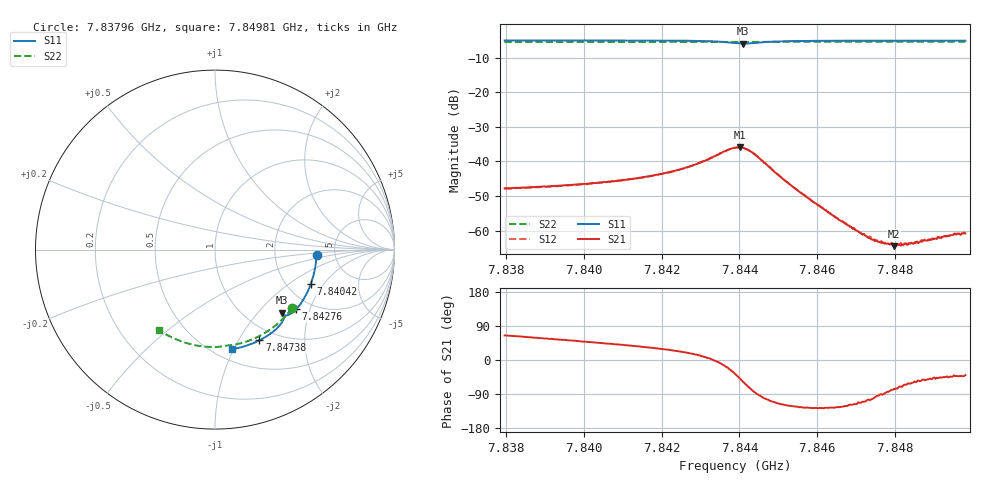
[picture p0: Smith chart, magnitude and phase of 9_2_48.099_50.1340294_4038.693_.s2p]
#  HZ  S  RI  R  50.00
! Rohde & Schwarz Vector Network Analyzer
! Rohde-Schwarz,ZNB20-2Port,1311601062101988,3.16
! Created: UTC 12/23/2023, 3:35:28 AM
! freq[Hz]  re:S11  im:S11  re:S21  im:S21  re:S12  im:S12  re:S22  im:S22
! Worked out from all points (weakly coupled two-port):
!   401 points, 7.83796 GHz to 7.84981 GHz, reference 50 ohm
!   highest |S21| = -35.85 dB at 7.844 GHz (marker M1); lowest = -64.5 dB at 7.84797 GHz (marker M2)
!   lowest |S11| = -5.8 dB at 7.84409 GHz (marker M3), VSWR 3.09, Z = 71.1 - j67.7 ohm
!   |S11| at or under -10 dB: nowhere
!   |S22| runs from -5.4 to -5.3 dB; largest |S21 - S12| = 0.00033
!   S11 on the Smith chart (normalised r, x): 7.83796 GHz: 3.59, -0.31; 7.84042 GHz: 2.68, -1.50; 7.84276 GHz: 1.66, -1.62; 7.84738 GHz: 0.83, -1.23; 7.84981 GHz: 0.60, -0.98
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7.837957e9  0.566 -0.0292  0.00173 0.00369  0.00172 0.00365  0.4301 -0.3267
7.839943e9  0.5442 -0.1597  0.00309 0.00354  0.00301 0.00357  0.3331 -0.4259
7.840417e9  0.5342 -0.1903  0.00351 0.00351  0.00344 0.00352  0.3063 -0.4459
7.841306e9  0.5102 -0.2462  0.00453 0.00338  0.00452 0.00335  0.2532 -0.4785
7.841929e9  0.4888 -0.2841  0.00564 0.00325  0.00561 0.00322  0.2138 -0.4974
7.842758e9  0.4515 -0.3329  0.00827 0.00254  0.00823 0.00251  0.159 -0.5177
7.84347e9  0.4035 -0.3654  0.0127 -0.00143  0.0127 -0.00143  0.1102 -0.5293
7.843885e9  0.3728 -0.3612  0.0128 -0.00947  0.0127 -0.00943  0.0824 -0.5327
7.844003e9  0.3698 -0.3555  0.0107 -0.012  0.0109 -0.0119  0.075 -0.5336
7.844092e9  0.3709 -0.352  0.00847 -0.0133  0.00851 -0.0132  0.0695 -0.5344
7.844388e9  0.3818 -0.356  0.0012 -0.0129  0.00122 -0.0126  0.0506 -0.5377
7.8451e9  0.3726 -0.4058  -0.00262 -0.00505  -0.00256 -0.0051  0.00102 -0.5427
7.84587e9  0.3347 -0.448  -0.0016 -0.00214  -0.00162 -0.00214  -0.0536 -0.5411
7.846878e9  0.2773 -0.4891  -0.000528 -0.000998  -0.000528 -0.000973  -0.1236 -0.5302
7.847382e9  0.2472 -0.5055  -0.000183 -0.00073  -0.000213 -0.000768  -0.1579 -0.5214
7.84756e9  0.2365 -0.5107  -5.59e-05 -0.000687  -4.32e-05 -0.000694  -0.1697 -0.5179
7.847856e9  0.2183 -0.5191  8.67e-05 -0.000623  6.28e-05 -0.000636  -0.1896 -0.5109
7.847975e9  0.2108 -0.522  0.000138 -0.000577  0.000125 -0.000616  -0.1973 -0.5081
7.848063e9  0.2053 -0.5242  0.000154 -0.0006  0.000153 -0.000585  -0.2029 -0.506
7.848478e9  0.179 -0.534  0.000335 -0.000554  0.000349 -0.000555  -0.2299 -0.4946
7.849575e9  0.1083 -0.5524  0.000651 -0.000587  0.000646 -0.000602  -0.2974 -0.4578
7.849812e9  0.0926 -0.5552  0.000696 -0.000582  0.00069 -0.000643  -0.3113 -0.4487
